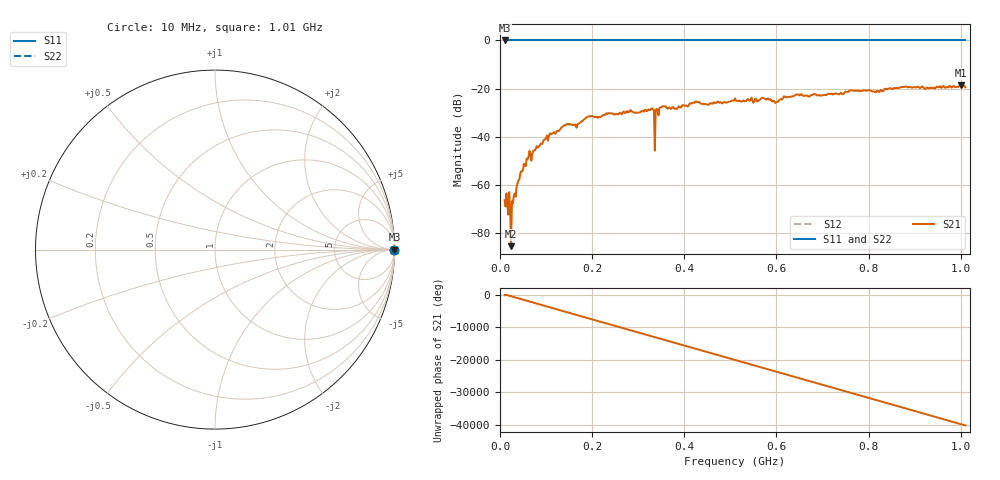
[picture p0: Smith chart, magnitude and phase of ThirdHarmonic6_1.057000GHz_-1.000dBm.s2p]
! 8/16/2025 9:25:24 AM
! C:\ANRITSUVNA\TEMP\TEMP.S2P
! CHANNEL.1
! TR.MEASUREMENT
! RAW.DATA
! RF.CORRECTION.OFF
! AVERAGING.OFF
! IF.BANDWIDTH: 5KHZ
! SWEEPTYPE:  FREQ.SWEEP(Linear)
! Reference Plane Port Info
! PORT:  PORT1  PORT2
! DISTANCE:  0  m  0  m
! TIME:  0  s  0  s
! PHASE.OFFSET:  0  deg.  0  deg.
! LOSS:  0  dB  0  dB
! REF.LOSS:  0  dB  0  dB
! REF.FREQ:  0  Hz  0  Hz
! Power Info
! POWER:  -20  dBm  -20  dBm
! EFF.POWER:  -20  dBm  -20  dBm
! SOURCE.ATTEN:  0  dB  0  dB
! TEST.ATTEN:  0  dB  0  dB
# GHZ S RI R 50.0
! FREQ.GHZ  S11RE  S11IM  S21RE  S21IM  S12RE  S12IM  S22RE  S22IM
!; PortSelection: Port_12
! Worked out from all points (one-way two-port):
!   501 points, 10 MHz to 1.01 GHz, reference 50 ohm
!   highest |S21| = -18.55 dB at 1 GHz (marker M1); lowest = -85.5 dB at 24 MHz (marker M2)
!   lowest |S11| = 0.0 dB at 10 MHz (marker M3)
!   |S11| at or under -10 dB: nowhere
!   |S22| runs from 0.0 to 0.0 dB; largest |S21 - S12| = 1.1
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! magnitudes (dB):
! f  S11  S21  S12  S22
! 10 MHz  0.0  -66.3  0.0  0.0
! 18 MHz  0.0  -72.4  0.0  0.0
! 20 MHz  0.0  -63.0  0.0  0.0
! 24 MHz  0.0  -85.5  0.0  0.0
! 28 MHz  0.0  -67.7  0.0  0.0
! 42 MHz  0.0  -57.8  0.0  0.0
! 62 MHz  0.0  -48.3  0.0  0.0
! 112 MHz  0.0  -38.9  0.0  0.0
! 178 MHz  0.0  -33.5  0.0  0.0
! 196 MHz  0.0  -31.6  0.0  0.0
! 326 MHz  0.0  -28.9  0.0  0.0
! 330 MHz  0.0  -28.2  0.0  0.0
! 332 MHz  0.0  -28.6  0.0  0.0
! 340 MHz  0.0  -28.4  0.0  0.0
! 342 MHz  0.0  -28.8  0.0  0.0
! 344 MHz  0.0  -31.2  0.0  0.0
! 510 MHz  0.0  -24.0  0.0  0.0
! 600 MHz  0.0  -25.6  0.0  0.0
! 678 MHz  0.0  -22.6  0.0  0.0
! 844 MHz  0.0  -20.0  0.0  0.0
! 1 GHz  0.0  -18.6  0.0  0.0
! 1.01 GHz  0.0  -19.4  0.0  0.0
